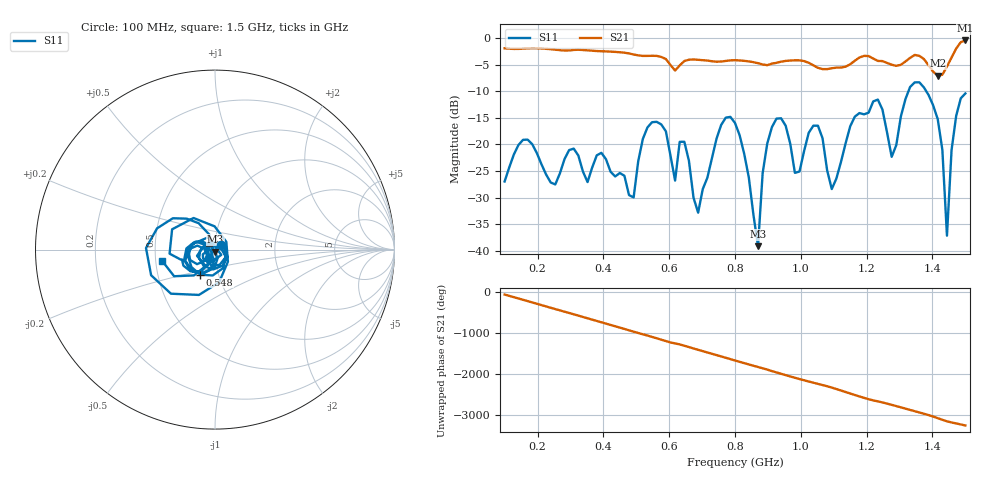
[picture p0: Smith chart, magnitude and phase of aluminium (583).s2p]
! NanoVNA-App
! Date: 2025-09-25 14:59:49
! Start: 100MHz Stop: 1,5GHz Points: 101
! S-Parameter data: F S11 S21 S12 S22
# Hz S RI R 50
!  Frequency  S11_Real  S11_Imag  S21_Real  S21_Imag  S12_Real  S12_Imag  S22_Real  S22_Imag
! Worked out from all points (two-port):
!   101 points, 100 MHz to 1.5 GHz, reference 50 ohm
!   highest |S21| = -0.44 dB at 1.5 GHz (marker M1); lowest = -7.1 dB at 1.416 GHz (marker M2)
!   |S21| within 3 dB of the highest: start of sweep to 569 MHz; 1.46 GHz to end of sweep (the widest 2 of 4)
!   lowest |S11| = -39.1 dB at 870 MHz (marker M3), VSWR 1.02, Z = 50.2 - j1.09 ohm
!   |S11| at or under -10 dB: start of sweep to 1.327 GHz; 1.381 GHz to end of sweep
!   S12 and S22 are empty: the file has one direction only
!   S11 on the Smith chart (normalised r, x): 100 MHz: 1.07, +0.06; 548 MHz: 0.82, -0.24; 1.5 GHz: 0.54, -0.07
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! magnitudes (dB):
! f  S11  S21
! 100 MHz  -27.0  -1.9
! 156 MHz  -19.1  -2.0
! 338 MHz  -25.1  -2.2
! 492 MHz  -30.0  -3.1
! 548 MHz  -15.8  -3.3
! 576 MHz  -16.2  -3.5
! 618 MHz  -26.8  -6.1
! 646 MHz  -19.5  -4.3
! 688 MHz  -32.8  -4.1
! 800 MHz  -16.0  -4.1
! 870 MHz  -39.1  -4.7
! 912 MHz  -16.8  -4.8
! 982 MHz  -25.3  -4.2
! 1.038 GHz  -16.5  -5.1
! 1.094 GHz  -28.4  -5.7
! 1.22 GHz  -11.9  -3.8
! 1.276 GHz  -22.3  -5.0
! 1.346 GHz  -8.3  -3.2
! 1.416 GHz  -15.2  -7.1
! 1.444 GHz  -37.1  -5.3
! 1.458 GHz  -21.0  -3.6
! 1.5 GHz  -10.4  -0.4
